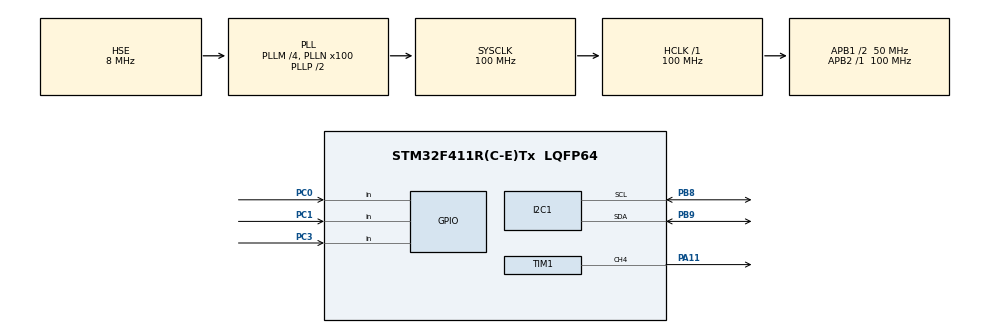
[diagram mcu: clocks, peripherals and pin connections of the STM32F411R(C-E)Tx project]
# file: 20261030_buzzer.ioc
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Mcu.Family=STM32F4
Mcu.Name=STM32F411R(C-E)Tx
Mcu.Package=LQFP64
NVIC.PriorityGroup=NVIC_PRIORITYGROUP_4
PA11.Signal=S_TIM1_CH4
PA13.Mode=Serial_Wire
PA13.Signal=SYS_JTMS-SWDIO
PA14.Mode=Serial_Wire
PA14.Signal=SYS_JTCK-SWCLK
PB8.Mode=I2C
PB8.Signal=I2C1_SCL
PB9.Mode=I2C
PB9.Signal=I2C1_SDA
PC0.Signal=GPIO_Input
PC1.Signal=GPIO_Input
PC3.Signal=GPIO_Input
PH0\ -\ OSC_IN.Mode=HSE-External-Oscillator
PH0\ -\ OSC_IN.Signal=RCC_OSC_IN
PH1\ -\ OSC_OUT.Mode=HSE-External-Oscillator
PH1\ -\ OSC_OUT.Signal=RCC_OSC_OUT
ProjectManager.HeapSize=0x200
ProjectManager.StackSize=0x400
ProjectManager.TargetToolchain=STM32CubeIDE
RCC.48MHZClocksFreq_Value=50000000
RCC.AHBFreq_Value=100000000
RCC.APB1CLKDivider=RCC_HCLK_DIV2
RCC.APB1Freq_Value=50000000
RCC.APB1TimFreq_Value=100000000
RCC.APB2Freq_Value=100000000
RCC.APB2TimFreq_Value=100000000
RCC.CortexFreq_Value=100000000
RCC.HCLKFreq_Value=100000000
RCC.HSE_VALUE=8000000
RCC.HSI_VALUE=16000000
RCC.LSE_VALUE=32768
RCC.PLLM=4
RCC.PLLN=100
RCC.PLLSourceVirtual=RCC_PLLSOURCE_HSE
RCC.SYSCLKFreq_VALUE=100000000
RCC.SYSCLKSource=RCC_SYSCLKSOURCE_PLLCLK
RCC.VCOOutputFreq_Value=200000000
SH.S_TIM1_CH4.0=TIM1_CH4,PWM Generation4 CH4
TIM1.AutoReloadPreload=TIM_AUTORELOAD_PRELOAD_ENABLE
TIM1.Channel-PWM\ Generation4\ CH4=TIM_CHANNEL_4
TIM1.Prescaler=100-1
VP_TIM1_VS_ClockSourceINT.Mode=Internal
board=custom

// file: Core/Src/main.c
/* USER CODE BEGIN Header */
/**
 ******************************************************************************
 * @file           : main.c
 * @brief          : Main program body
 ******************************************************************************
 * @attention
 *
 * Copyright (c) 2026 STMicroelectronics.
 * All rights reserved.
 *
 * This software is licensed under terms that can be found in the LICENSE file
 * in the root directory of this software component.
 * If no LICENSE file comes with this software, it is provided AS-IS.
 *
 ******************************************************************************
 */
/* USER CODE END Header */
#include "main.h"

/* USER CODE BEGIN Includes */
#include "ap/ap_main.h"
#include <stdbool.h>
#include <string.h>
#include "driver/button/button.h"
#include "ap/service/sound/sound.h"
#include "common/queue/que_buffer.h"
/* USER CODE END Includes */

I2C_HandleTypeDef hi2c1;

TIM_HandleTypeDef htim1;

void SystemClock_Config(void);
static void MX_GPIO_Init(void);
static void MX_TIM1_Init(void);
static void MX_I2C1_Init(void);

/* USER CODE BEGIN 0 */

typedef enum {
	BTN_NORMAL = 0,
	BTN_ERROR,
	BTN_ALARM
} btn_event_t;

#define BTN_EVENT_Q_SIZE 6

btn_event_t btnEvent[BTN_EVENT_Q_SIZE];
que_buf_t que_btnEvent;

/* USER CODE END 0 */

int main(void)
{

	/* MCU Configuration--------------------------------------------------------*/

	/* Reset of all peripherals, Initializes the Flash interface and the Systick. */
	HAL_Init();

	/* Configure the system clock */
	SystemClock_Config();

	/* Initialize all configured peripherals */
	MX_GPIO_Init();
	MX_TIM1_Init();
	MX_I2C1_Init();
	/* USER CODE BEGIN 2 */

	button_t btn_normal, btn_error, btn_alarm;

	button_init(&btn_normal, GPIOC, GPIO_PIN_0);
	button_init(&btn_error, GPIOC, GPIO_PIN_1);
	button_init(&btn_alarm, GPIOC, GPIO_PIN_3);

	que_buf_init(&que_btnEvent, btnEvent, sizeof(btn_event_t), BTN_EVENT_Q_SIZE);
	sound_init();
	sound_power();

	/* USER CODE END 2 */

	/* Infinite loop */
	/* USER CODE BEGIN WHILE */

	uint32_t prevTime = 0;
	btn_event_t btnEvent; // 버튼 event enum 변수

	while (1)
	{
		//ap_main();

		if (button_getState(&btn_normal) == ACT_RELEASE) {
			btnEvent = BTN_NORMAL; // 버튼 event 변수에 event 내용 저장
			que_put(&que_btnEvent, &btnEvent); // que buffer에 event 내용 저장
		}
		if (button_getState(&btn_error) == ACT_RELEASE) {
			btnEvent = BTN_ERROR; // 버튼 event 변수에 event 내용 저장
			que_put(&que_btnEvent, &btnEvent); // que buffer에 event 내용 저장
		}
		if (button_getState(&btn_alarm) == ACT_RELEASE) {
			btnEvent = BTN_ALARM; // 버튼 event 변수에 event 내용 저장
			que_put(&que_btnEvent, &btnEvent); // que buffer에 event 내용 저장
		}

		if (HAL_GetTick() - prevTime >= 2000) {
			prevTime = HAL_GetTick();

			if (!que_is_empty(&que_btnEvent)) {

				que_get(&que_btnEvent, &btnEvent);

				if (btnEvent == BTN_NORMAL) {
					sound_button();
				}
				if (btnEvent == BTN_ERROR) {
					sound_error();
				}
				if (btnEvent == BTN_ALARM) {
					sound_alarm();
				}
			}
		}

		/* USER CODE END WHILE */

	}
}

void SystemClock_Config(void)
{
	RCC_OscInitTypeDef RCC_OscInitStruct = {0};
	RCC_ClkInitTypeDef RCC_ClkInitStruct = {0};

	/** Configure the main internal regulator output voltage
	 */
	__HAL_RCC_PWR_CLK_ENABLE();
	__HAL_PWR_VOLTAGESCALING_CONFIG(PWR_REGULATOR_VOLTAGE_SCALE1);

	/** Initializes the RCC Oscillators according to the specified parameters
	 * in the RCC_OscInitTypeDef structure.
	 */
	RCC_OscInitStruct.OscillatorType = RCC_OSCILLATORTYPE_HSE;
	RCC_OscInitStruct.HSEState = RCC_HSE_ON;
	RCC_OscInitStruct.PLL.PLLState = RCC_PLL_ON;
	RCC_OscInitStruct.PLL.PLLSource = RCC_PLLSOURCE_HSE;
	RCC_OscInitStruct.PLL.PLLM = 4;
	RCC_OscInitStruct.PLL.PLLN = 100;
	RCC_OscInitStruct.PLL.PLLP = RCC_PLLP_DIV2;
	RCC_OscInitStruct.PLL.PLLQ = 4;
	if (HAL_RCC_OscConfig(&RCC_OscInitStruct) != HAL_OK)
	{
		Error_Handler();
	}

	/** Initializes the CPU, AHB and APB buses clocks
	 */
	RCC_ClkInitStruct.ClockType = RCC_CLOCKTYPE_HCLK|RCC_CLOCKTYPE_SYSCLK
			|RCC_CLOCKTYPE_PCLK1|RCC_CLOCKTYPE_PCLK2;
	RCC_ClkInitStruct.SYSCLKSource = RCC_SYSCLKSOURCE_PLLCLK;
	RCC_ClkInitStruct.AHBCLKDivider = RCC_SYSCLK_DIV1;
	RCC_ClkInitStruct.APB1CLKDivider = RCC_HCLK_DIV2;
	RCC_ClkInitStruct.APB2CLKDivider = RCC_HCLK_DIV1;

	if (HAL_RCC_ClockConfig(&RCC_ClkInitStruct, FLASH_LATENCY_3) != HAL_OK)
	{
		Error_Handler();
	}
}

static void MX_I2C1_Init(void)
{

	hi2c1.Instance = I2C1;
	hi2c1.Init.ClockSpeed = 100000;
	hi2c1.Init.DutyCycle = I2C_DUTYCYCLE_2;
	hi2c1.Init.OwnAddress1 = 0;
	hi2c1.Init.AddressingMode = I2C_ADDRESSINGMODE_7BIT;
	hi2c1.Init.DualAddressMode = I2C_DUALADDRESS_DISABLE;
	hi2c1.Init.OwnAddress2 = 0;
	hi2c1.Init.GeneralCallMode = I2C_GENERALCALL_DISABLE;
	hi2c1.Init.NoStretchMode = I2C_NOSTRETCH_DISABLE;
	if (HAL_I2C_Init(&hi2c1) != HAL_OK)
	{
		Error_Handler();
	}

}

static void MX_TIM1_Init(void)
{

	TIM_ClockConfigTypeDef sClockSourceConfig = {0};
	TIM_MasterConfigTypeDef sMasterConfig = {0};
	TIM_OC_InitTypeDef sConfigOC = {0};
	TIM_BreakDeadTimeConfigTypeDef sBreakDeadTimeConfig = {0};

	htim1.Instance = TIM1;
	htim1.Init.Prescaler = 100-1;
	htim1.Init.CounterMode = TIM_COUNTERMODE_UP;
	htim1.Init.Period = 65535;
	htim1.Init.ClockDivision = TIM_CLOCKDIVISION_DIV1;
	htim1.Init.RepetitionCounter = 0;
	htim1.Init.AutoReloadPreload = TIM_AUTORELOAD_PRELOAD_ENABLE;
	if (HAL_TIM_Base_Init(&htim1) != HAL_OK)
	{
		Error_Handler();
	}
	sClockSourceConfig.ClockSource = TIM_CLOCKSOURCE_INTERNAL;
	if (HAL_TIM_ConfigClockSource(&htim1, &sClockSourceConfig) != HAL_OK)
	{
		Error_Handler();
	}
	if (HAL_TIM_PWM_Init(&htim1) != HAL_OK)
	{
		Error_Handler();
	}
	sMasterConfig.MasterOutputTrigger = TIM_TRGO_RESET;
	sMasterConfig.MasterSlaveMode = TIM_MASTERSLAVEMODE_DISABLE;
	if (HAL_TIMEx_MasterConfigSynchronization(&htim1, &sMasterConfig) != HAL_OK)
	{
		Error_Handler();
	}
	sConfigOC.OCMode = TIM_OCMODE_PWM1;
	sConfigOC.Pulse = 0;
	sConfigOC.OCPolarity = TIM_OCPOLARITY_HIGH;
	sConfigOC.OCFastMode = TIM_OCFAST_DISABLE;
	sConfigOC.OCIdleState = TIM_OCIDLESTATE_RESET;
	sConfigOC.OCNIdleState = TIM_OCNIDLESTATE_RESET;
	if (HAL_TIM_PWM_ConfigChannel(&htim1, &sConfigOC, TIM_CHANNEL_4) != HAL_OK)
	{
		Error_Handler();
	}
	sBreakDeadTimeConfig.OffStateRunMode = TIM_OSSR_DISABLE;
	sBreakDeadTimeConfig.OffStateIDLEMode = TIM_OSSI_DISABLE;
	sBreakDeadTimeConfig.LockLevel = TIM_LOCKLEVEL_OFF;
	sBreakDeadTimeConfig.DeadTime = 0;
	sBreakDeadTimeConfig.BreakState = TIM_BREAK_DISABLE;
	sBreakDeadTimeConfig.BreakPolarity = TIM_BREAKPOLARITY_HIGH;
	sBreakDeadTimeConfig.AutomaticOutput = TIM_AUTOMATICOUTPUT_DISABLE;
	if (HAL_TIMEx_ConfigBreakDeadTime(&htim1, &sBreakDeadTimeConfig) != HAL_OK)
	{
		Error_Handler();
	}
	HAL_TIM_MspPostInit(&htim1);

}

static void MX_GPIO_Init(void)
{
	GPIO_InitTypeDef GPIO_InitStruct = {0};

	/* GPIO Ports Clock Enable */
	__HAL_RCC_GPIOH_CLK_ENABLE();
	__HAL_RCC_GPIOC_CLK_ENABLE();
	__HAL_RCC_GPIOA_CLK_ENABLE();
	__HAL_RCC_GPIOB_CLK_ENABLE();

	/*Configure GPIO pins : PC0 PC1 PC3 */
	GPIO_InitStruct.Pin = GPIO_PIN_0|GPIO_PIN_1|GPIO_PIN_3;
	GPIO_InitStruct.Mode = GPIO_MODE_INPUT;
	GPIO_InitStruct.Pull = GPIO_NOPULL;
	HAL_GPIO_Init(GPIOC, &GPIO_InitStruct);

}

void Error_Handler(void)
{
	__disable_irq();
	while (1)
	{
	}
}
